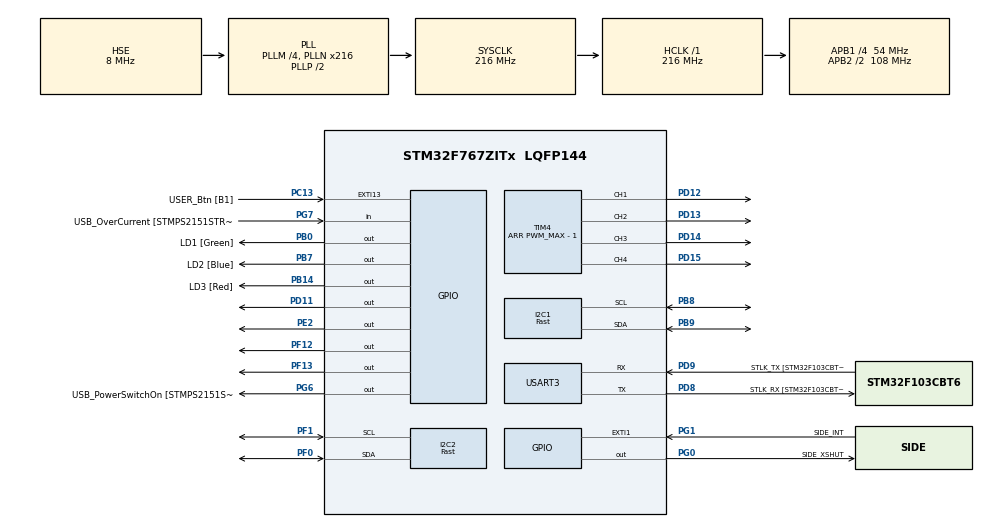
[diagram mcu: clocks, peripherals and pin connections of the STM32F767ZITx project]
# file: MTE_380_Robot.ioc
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CORTEX_M7.CPU_DCache=Enabled
CORTEX_M7.CPU_ICache=Enabled
FREERTOS.INCLUDE_xTaskGetCurrentTaskHandle=1
FREERTOS.INCLUDE_xTaskGetHandle=1
FREERTOS.Tasks01=defaultTask,24,256,StartDefaultTask,Default,NULL,Dynamic,NULL,NULL
FREERTOS.configENABLE_BACKWARD_COMPATIBILITY=0
FREERTOS.configGENERATE_RUN_TIME_STATS=1
FREERTOS.configMINIMAL_STACK_SIZE=256
FREERTOS.configRECORD_STACK_HIGH_ADDRESS=1
FREERTOS.configTOTAL_HEAP_SIZE=32768
I2C1.I2C_Speed_Mode=I2C_Fast
I2C1.Timing=0x6000030D
I2C2.I2C_Speed_Mode=I2C_Fast
I2C2.Timing=0x6000030D
Mcu.Family=STM32F7
Mcu.Name=STM32F767ZITx
Mcu.Package=LQFP144
Mcu.UserConstants=PWM_MAX,10800
NVIC.PriorityGroup=NVIC_PRIORITYGROUP_4
NVIC.TIM4_IRQn=true\:5\:0\:false\:false\:true\:true\:true\:true
NVIC.TIM7_IRQn=true\:0\:0\:false\:false\:true\:false\:false\:true
NVIC.TimeBase=TIM7_IRQn
NVIC.TimeBaseIP=TIM7
PA1.GPIO_Label=RMII_REF_CLK [LAN8742A-CZ-TR_REFCLK0]
PA1.Signal=ETH_REF_CLK
PA10.GPIO_Label=USB_ID
PA10.Signal=USB_OTG_FS_ID
PA11.GPIO_Label=USB_DM
PA11.Signal=USB_OTG_FS_DM
PA12.GPIO_Label=USB_DP
PA12.Signal=USB_OTG_FS_DP
PA13.GPIO_Label=TMS
PA13.Mode=Trace_Asynchronous_SW
PA13.Signal=SYS_JTMS-SWDIO
PA14.GPIO_Label=TCK
PA14.Mode=Trace_Asynchronous_SW
PA14.Signal=SYS_JTCK-SWCLK
PA2.GPIO_Label=RMII_MDIO [LAN8742A-CZ-TR_MDIO]
PA2.Signal=ETH_MDIO
PA7.GPIO_Label=RMII_CRS_DV [LAN8742A-CZ-TR_CRS_DV]
PA7.Signal=ETH_CRS_DV
PA8.GPIO_Label=USB_SOF [TP1]
PA8.Signal=USB_OTG_FS_SOF
PA9.GPIO_Label=USB_VBUS
PA9.Signal=USB_OTG_FS_VBUS
PB0.GPIO_Label=LD1 [Green]
PB0.Signal=GPIO_Output
PB13.GPIO_Label=RMII_TXD1 [LAN8742A-CZ-TR_TXD1]
PB13.Signal=ETH_TXD1
PB14.GPIO_Label=LD3 [Red]
PB14.Signal=GPIO_Output
PB3.GPIO_Label=SWO
PB3.Mode=Trace_Asynchronous_SW
PB3.Signal=SYS_JTDO-SWO
PB7.GPIO_Label=LD2 [Blue]
PB7.Signal=GPIO_Output
PB8.Mode=I2C
PB8.Signal=I2C1_SCL
PB9.Mode=I2C
PB9.Signal=I2C1_SDA
PC1.GPIO_Label=RMII_MDC [LAN8742A-CZ-TR_MDC]
PC1.Signal=ETH_MDC
PC13.GPIO_Label=USER_Btn [B1]
PC13.Signal=GPXTI13
PC14/OSC32_IN.Mode=LSE-External-Oscillator
PC14/OSC32_IN.Signal=RCC_OSC32_IN
PC15/OSC32_OUT.Mode=LSE-External-Oscillator
PC15/OSC32_OUT.Signal=RCC_OSC32_OUT
PC4.GPIO_Label=RMII_RXD0 [LAN8742A-CZ-TR_RXD0]
PC4.Signal=ETH_RXD0
PC5.GPIO_Label=RMII_RXD1 [LAN8742A-CZ-TR_RXD1]
PC5.Signal=ETH_RXD1
PD11.Signal=GPIO_Output
PD12.Signal=S_TIM4_CH1
PD13.Signal=S_TIM4_CH2
PD14.Signal=S_TIM4_CH3
PD15.Signal=S_TIM4_CH4
PD8.GPIO_Label=STLK_RX [STM32F103CBT6_PA3]
PD8.Mode=Asynchronous
PD8.Signal=USART3_TX
PD9.GPIO_Label=STLK_TX [STM32F103CBT6_PA2]
PD9.Mode=Asynchronous
PD9.Signal=USART3_RX
PE2.Signal=GPIO_Output
PF0.Mode=I2C
PF0.Signal=I2C2_SDA
PF1.Mode=I2C
PF1.Signal=I2C2_SCL
PF12.Signal=GPIO_Output
PF13.Signal=GPIO_Output
PG0.GPIO_Label=SIDE_XSHUT
PG0.GPIO_ModeDefaultOutputPP=GPIO_MODE_OUTPUT_OD
PG0.Signal=GPIO_Output
PG1.GPIO_Label=SIDE_INT
PG1.Signal=GPXTI1
PG11.GPIO_Label=RMII_TX_EN [LAN8742A-CZ-TR_TXEN]
PG11.Signal=ETH_TX_EN
PG13.GPIO_Label=RMII_TXD0 [LAN8742A-CZ-TR_TXD0]
PG13.Signal=ETH_TXD0
PG14.Signal=USART6_TX
PG6.GPIO_Label=USB_PowerSwitchOn [STMPS2151STR_EN]
PG6.Signal=GPIO_Output
PG7.GPIO_Label=USB_OverCurrent [STMPS2151STR_FAULT]
PG7.Signal=GPIO_Input
PG9.Signal=USART6_RX
PH0/OSC_IN.GPIO_Label=MCO [STM32F103CBT6_PA8]
PH0/OSC_IN.Mode=HSE-External-Clock-Source
PH0/OSC_IN.Signal=RCC_OSC_IN
PH1/OSC_OUT.Mode=HSE-External-Clock-Source
PH1/OSC_OUT.Signal=RCC_OSC_OUT
ProjectManager.HeapSize=0x2000
ProjectManager.StackSize=0x2000
ProjectManager.TargetToolchain=Makefile
RCC.48MHZClocksFreq_Value=24000000
RCC.AHBFreq_Value=216000000
RCC.APB1CLKDivider=RCC_HCLK_DIV4
RCC.APB1Freq_Value=54000000
RCC.APB1TimFreq_Value=108000000
RCC.APB2CLKDivider=RCC_HCLK_DIV2
RCC.APB2Freq_Value=108000000
RCC.APB2TimFreq_Value=216000000
RCC.CortexFreq_Value=216000000
RCC.HCLKFreq_Value=216000000
RCC.HSE_VALUE=8000000
RCC.HSI_VALUE=16000000
RCC.PLLM=4
RCC.PLLMUL=RCC_PLL_MUL9
RCC.PLLN=216
RCC.PLLQ=9
RCC.PLLSourceVirtual=RCC_PLLSOURCE_HSE
RCC.PRESCALERUSB=RCC_USBCLKSOURCE_PLL_DIV1_5
RCC.SYSCLKFreq_VALUE=216000000
RCC.SYSCLKSource=RCC_SYSCLKSOURCE_PLLCLK
RCC.SYSCLKSourceVirtual=RCC_SYSCLKSOURCE_PLLCLK
RCC.USBFreq_Value=48000000
RCC.VCOOutputFreq_Value=432000000
SH.S_TIM4_CH1.0=TIM4_CH1,PWM Generation1 CH1
SH.S_TIM4_CH2.0=TIM4_CH2,PWM Generation2 CH2
SH.S_TIM4_CH3.0=TIM4_CH3,PWM Generation3 CH3
SH.S_TIM4_CH4.0=TIM4_CH4,PWM Generation4 CH4
TIM4.Channel-PWM\ Generation1\ CH1=TIM_CHANNEL_1
TIM4.Channel-PWM\ Generation2\ CH2=TIM_CHANNEL_2
TIM4.Channel-PWM\ Generation3\ CH3=TIM_CHANNEL_3
TIM4.Channel-PWM\ Generation4\ CH4=TIM_CHANNEL_4
TIM4.Period=PWM_MAX - 1
USART3.VirtualMode-Asynchronous=VM_ASYNC
VP_FREERTOS_VS_CMSIS_V2.Mode=CMSIS_V2
VP_SYS_VS_tim7.Mode=TIM7
VP_TIM4_VS_ClockSourceINT.Mode=Internal
board=NUCLEO-F767ZI

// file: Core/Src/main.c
/* USER CODE BEGIN Header */
/**
 * @file main.c
 * @author Ian Frosst
 * @brief Main program body
 * @version 0.1
 * @date 2020-03-06
 *
 * @copyright Copyright (c) 2020
 *
 */
/* USER CODE END Header */

#include "main.h"
#include "cmsis_os.h"
#include "gpio.h"
#include "i2c.h"
#include "tim.h"
#include "usart.h"

/* USER CODE BEGIN Includes */
#include <stdbool.h>
#include <stdio.h>
#include <stdlib.h>

#include "vl53l0x_api.h"
#include "vl53l0x_platform.h"
/* USER CODE END Includes */

void SystemClock_Config(void);
void MX_FREERTOS_Init(void);

/* USER CODE BEGIN 0 */

void print_pal_error(VL53L0X_Error Status) {
  char buf[VL53L0X_MAX_STRING_LENGTH];
  VL53L0X_GetPalErrorString(Status, buf);
  printf("API Status: %i : %s\n", Status, buf);
}

void print_range_status(
    VL53L0X_RangingMeasurementData_t* pRangingMeasurementData) {
  char buf[VL53L0X_MAX_STRING_LENGTH];
  uint8_t RangeStatus;

  /*
   * New Range Status: data is valid when pRangingMeasurementData->RangeStatus =
   * 0
   */

  RangeStatus = pRangingMeasurementData->RangeStatus;

  VL53L0X_GetRangeStatusString(RangeStatus, buf);
  printf("Range Status: %i : %s\n", RangeStatus, buf);
}

VL53L0X_Error WaitMeasurementDataReady(VL53L0X_DEV Dev) {
  VL53L0X_Error Status = VL53L0X_ERROR_NONE;
  uint8_t NewDatReady = 0;
  uint32_t LoopNb;

  // Wait until it finished
  // use timeout to avoid deadlock
  if (Status == VL53L0X_ERROR_NONE) {
    LoopNb = 0;
    do {
      Status = VL53L0X_GetMeasurementDataReady(Dev, &NewDatReady);
      if ((NewDatReady == 0x01) || Status != VL53L0X_ERROR_NONE) {
        break;
      }
      LoopNb = LoopNb + 1;
      VL53L0X_PollingDelay(Dev);
    } while (LoopNb < VL53L0X_DEFAULT_MAX_LOOP);

    if (LoopNb >= VL53L0X_DEFAULT_MAX_LOOP) {
      Status = VL53L0X_ERROR_TIME_OUT;
    }
  }

  return Status;
}

VL53L0X_Error WaitStopCompleted(VL53L0X_DEV Dev) {
  VL53L0X_Error Status = VL53L0X_ERROR_NONE;
  uint32_t StopCompleted = 0;
  uint32_t LoopNb;

  // Wait until it finished
  // use timeout to avoid deadlock
  if (Status == VL53L0X_ERROR_NONE) {
    LoopNb = 0;
    do {
      Status = VL53L0X_GetStopCompletedStatus(Dev, &StopCompleted);
      if ((StopCompleted == 0x00) || Status != VL53L0X_ERROR_NONE) {
        break;
      }
      LoopNb = LoopNb + 1;
      VL53L0X_PollingDelay(Dev);
    } while (LoopNb < VL53L0X_DEFAULT_MAX_LOOP);

    if (LoopNb >= VL53L0X_DEFAULT_MAX_LOOP) {
      Status = VL53L0X_ERROR_TIME_OUT;
    }
  }

  return Status;
}

VL53L0X_Error rangingTest(VL53L0X_Dev_t* pMyDevice) {
  VL53L0X_RangingMeasurementData_t RangingMeasurementData;
  VL53L0X_RangingMeasurementData_t* pRangingMeasurementData =
      &RangingMeasurementData;
  VL53L0X_Error Status = VL53L0X_ERROR_NONE;
  uint32_t refSpadCount;
  uint8_t isApertureSpads;
  uint8_t VhvSettings;
  uint8_t PhaseCal;

  printf("Call of VL53L0X_DataInit\n");
  Status = VL53L0X_DataInit(pMyDevice);  // Data initialization
  print_pal_error(Status);

  if (Status == VL53L0X_ERROR_NONE) {
    printf("Call of VL53L0X_StaticInit\n");
    Status = VL53L0X_StaticInit(pMyDevice);  // Device Initialization
    // StaticInit will set interrupt by default
    print_pal_error(Status);
  }

  if (Status == VL53L0X_ERROR_NONE) {
    printf("Call of VL53L0X_PerformRefCalibration\n");
    Status = VL53L0X_PerformRefCalibration(pMyDevice, &VhvSettings,
                                           &PhaseCal);  // Device Initialization
    print_pal_error(Status);
  }

  if (Status == VL53L0X_ERROR_NONE) {
    printf("Call of VL53L0X_PerformRefSpadManagement\n");
    Status = VL53L0X_PerformRefSpadManagement(
        pMyDevice, &refSpadCount, &isApertureSpads);  // Device Initialization
    print_pal_error(Status);
  }

  if (Status == VL53L0X_ERROR_NONE) {
    printf("Call of VL53L0X_SetDeviceMode\n");
    Status = VL53L0X_SetDeviceMode(
        pMyDevice,
        VL53L0X_DEVICEMODE_CONTINUOUS_RANGING);  // Setup in single ranging mode
    print_pal_error(Status);
  }

  if (Status == VL53L0X_ERROR_NONE) {
    printf("Call of VL53L0X_StartMeasurement\n");
    Status = VL53L0X_StartMeasurement(pMyDevice);
    print_pal_error(Status);
  }

  if (Status == VL53L0X_ERROR_NONE) {
    uint16_t range;

    do {
      Status = WaitMeasurementDataReady(pMyDevice);

      if (Status == VL53L0X_ERROR_NONE) {
        Status = VL53L0X_GetRangingMeasurementData(pMyDevice,
                                                   pRangingMeasurementData);

        range = pRangingMeasurementData->RangeMilliMeter;
        printf("data: %d\r\n", range);

        // Clear the interrupt
        VL53L0X_ClearInterruptMask(
            pMyDevice, VL53L0X_REG_SYSTEM_INTERRUPT_GPIO_NEW_SAMPLE_READY);
        VL53L0X_PollingDelay(pMyDevice);
      } else {
        break;
      }
    } while (true);
  }

  if (Status == VL53L0X_ERROR_NONE) {
    printf("Call of VL53L0X_StopMeasurement\n");
    Status = VL53L0X_StopMeasurement(pMyDevice);
  }

  if (Status == VL53L0X_ERROR_NONE) {
    printf("Wait Stop to be competed\n");
    Status = WaitStopCompleted(pMyDevice);
  }

  if (Status == VL53L0X_ERROR_NONE)
    Status = VL53L0X_ClearInterruptMask(
        pMyDevice, VL53L0X_REG_SYSTEM_INTERRUPT_GPIO_NEW_SAMPLE_READY);

  return Status;
}

void drive_dir(uint16_t pwm, bool left, bool right) {
  // Front left
  __HAL_TIM_SET_COMPARE(&htim4, TIM_CHANNEL_4, pwm);
  HAL_GPIO_WritePin(GPIOF, GPIO_PIN_13, !left);

  // Back left
  __HAL_TIM_SET_COMPARE(&htim4, TIM_CHANNEL_1, pwm);
  HAL_GPIO_WritePin(GPIOE, GPIO_PIN_2, !left);

  // Front right
  __HAL_TIM_SET_COMPARE(&htim4, TIM_CHANNEL_3, pwm);
  HAL_GPIO_WritePin(GPIOF, GPIO_PIN_12, right);

  // Back right
  __HAL_TIM_SET_COMPARE(&htim4, TIM_CHANNEL_2, pwm);
  HAL_GPIO_WritePin(GPIOD, GPIO_PIN_11, right);
}

#define DO_SETUP
#define VL53L0X_ADDRESS (0x52)
#define VL53L0X_NEW_ADDRESS (0x54)

VL53L0X_Dev_t side_range = {
    .I2cDevAddr = VL53L0X_ADDRESS,
};

VL53L0X_Dev_t front_range = {
#ifdef DO_SETUP
    .I2cDevAddr = VL53L0X_ADDRESS,
#else
    .I2cDevAddr = VL53L0X_NEW_ADDRESS,
#endif
};

void range_init(void) {
  VL53L0X_Error Status = VL53L0X_ERROR_NONE;

  // Shutdown the side sensor
  HAL_GPIO_WritePin(SIDE_XSHUT_GPIO_Port, SIDE_XSHUT_Pin, GPIO_PIN_RESET);

#ifdef DO_SETUP
  // This will fail if the address has already been changed, but that's ok
  VL53L0X_SetDeviceAddress(&front_range, VL53L0X_NEW_ADDRESS);
  front_range.I2cDevAddr = VL53L0X_NEW_ADDRESS;
#endif

  // Reenable side sensor
  HAL_GPIO_WritePin(SIDE_XSHUT_GPIO_Port, SIDE_XSHUT_Pin, GPIO_PIN_SET);

  Status = VL53L0X_DataInit(&front_range);
  if (Status != VL53L0X_ERROR_NONE) {
    printf("front DataInit\r\n");
    print_pal_error(Status);
  }

  Status = VL53L0X_StaticInit(&front_range);
  if (Status != VL53L0X_ERROR_NONE) {
    printf("front StaticInit\r\n");
    print_pal_error(Status);
  }

  Status = VL53L0X_DataInit(&side_range);
  if (Status != VL53L0X_ERROR_NONE) {
    printf("side DataInit\r\n");
    print_pal_error(Status);
  }

  Status = VL53L0X_StaticInit(&side_range);
  if (Status != VL53L0X_ERROR_NONE) {
    printf("side StaticInit\r\n");
    print_pal_error(Status);
  }
}

void range_calibrate(void) {
  uint8_t VhvSettings = 0;
  uint8_t PhaseCal = 0;
  uint32_t refSpadCount = 0;
  uint8_t isApertureSpads = 0;

  VL53L0X_PerformRefCalibration(&front_range, &VhvSettings, &PhaseCal);
  VL53L0X_PerformRefSpadManagement(&front_range, &refSpadCount,
                                   &isApertureSpads);

  VL53L0X_PerformRefCalibration(&side_range, &VhvSettings, &PhaseCal);
  VL53L0X_PerformRefSpadManagement(&side_range, &refSpadCount,
                                   &isApertureSpads);
}

void range_run(void) {
  range_init();
  range_calibrate();

  VL53L0X_SetDeviceMode(&front_range, VL53L0X_DEVICEMODE_CONTINUOUS_RANGING);
  VL53L0X_StartMeasurement(&front_range);

  VL53L0X_SetDeviceMode(&side_range, VL53L0X_DEVICEMODE_CONTINUOUS_RANGING);
  VL53L0X_StartMeasurement(&side_range);

  VL53L0X_RangingMeasurementData_t data = {0};

  while (1) {
    HAL_Delay(50);
    VL53L0X_GetRangingMeasurementData(&front_range, &data);
    printf("front: %d\r\n", data.RangeMilliMeter);
    VL53L0X_ClearInterruptMask(
        &front_range, VL53L0X_REG_SYSTEM_INTERRUPT_GPIO_NEW_SAMPLE_READY);
    HAL_Delay(50);
    VL53L0X_GetRangingMeasurementData(&side_range, &data);
    printf("side:  %d\r\n", data.RangeMilliMeter);
    VL53L0X_ClearInterruptMask(
        &side_range, VL53L0X_REG_SYSTEM_INTERRUPT_GPIO_NEW_SAMPLE_READY);
  }
}

/* USER CODE END 0 */

int main(void) {

  /* Enable I-Cache---------------------------------------------------------*/
  SCB_EnableICache();

  /* Enable D-Cache---------------------------------------------------------*/
  SCB_EnableDCache();

  /* MCU Configuration--------------------------------------------------------*/

  /* Reset of all peripherals, Initializes the Flash interface and the Systick. */
  HAL_Init();

  /* Configure the system clock */
  SystemClock_Config();

  /* Initialize all configured peripherals */
  MX_GPIO_Init();
  MX_USART3_UART_Init();
  MX_I2C1_Init();
  MX_I2C2_Init();
  MX_TIM4_Init();
  /* USER CODE BEGIN 2 */
  printf("\r\n\r\nStartup!\r\n");

#if 0
  HAL_TIM_PWM_Start(&htim4, TIM_CHANNEL_1);
  HAL_TIM_PWM_Start(&htim4, TIM_CHANNEL_2);
  HAL_TIM_PWM_Start(&htim4, TIM_CHANNEL_3);
  HAL_TIM_PWM_Start(&htim4, TIM_CHANNEL_4);

  uint16_t pwm = 0xFFFF * 0.4f;

  drive_dir(pwm, true, true);

  HAL_Delay(2000);

  drive_dir(0, true, true);

  HAL_Delay(200);

  drive_dir(pwm, false, false);

  HAL_Delay(2000);

  drive_dir(0, true, true);

  HAL_Delay(200);

  drive_dir(pwm, true, false);

  HAL_Delay(2000);

  drive_dir(0, true, true);

  HAL_Delay(200);

  drive_dir(pwm, false, true);

  HAL_Delay(2000);

  drive_dir(0, true, true);

  while (1)
    ;
#endif

  /* USER CODE END 2 */
  /* Init scheduler */
  osKernelInitialize();

  /* Call init function for freertos objects (in freertos.c) */
  MX_FREERTOS_Init();

  /* Start scheduler */
  osKernelStart();

  /* We should never get here as control is now taken by the scheduler */

  /* Infinite loop */
  while (1) {

  }
}

void SystemClock_Config(void) {
  RCC_OscInitTypeDef RCC_OscInitStruct = {0};
  RCC_ClkInitTypeDef RCC_ClkInitStruct = {0};
  RCC_PeriphCLKInitTypeDef PeriphClkInitStruct = {0};

  /** Configure LSE Drive Capability
   */
  HAL_PWR_EnableBkUpAccess();
  /** Configure the main internal regulator output voltage
   */
  __HAL_RCC_PWR_CLK_ENABLE();
  __HAL_PWR_VOLTAGESCALING_CONFIG(PWR_REGULATOR_VOLTAGE_SCALE1);
  /** Initializes the CPU, AHB and APB busses clocks
   */
  RCC_OscInitStruct.OscillatorType = RCC_OSCILLATORTYPE_HSE;
  RCC_OscInitStruct.HSEState = RCC_HSE_BYPASS;
  RCC_OscInitStruct.PLL.PLLState = RCC_PLL_ON;
  RCC_OscInitStruct.PLL.PLLSource = RCC_PLLSOURCE_HSE;
  RCC_OscInitStruct.PLL.PLLM = 4;
  RCC_OscInitStruct.PLL.PLLN = 216;
  RCC_OscInitStruct.PLL.PLLP = RCC_PLLP_DIV2;
  RCC_OscInitStruct.PLL.PLLQ = 9;
  if (HAL_RCC_OscConfig(&RCC_OscInitStruct) != HAL_OK) {
    Error_Handler();
  }
  /** Activate the Over-Drive mode
  */
  if (HAL_PWREx_EnableOverDrive() != HAL_OK) {
    Error_Handler();
  }
  /** Initializes the CPU, AHB and APB busses clocks
   */
  RCC_ClkInitStruct.ClockType = RCC_CLOCKTYPE_HCLK | RCC_CLOCKTYPE_SYSCLK |
                                RCC_CLOCKTYPE_PCLK1 | RCC_CLOCKTYPE_PCLK2;
  RCC_ClkInitStruct.SYSCLKSource = RCC_SYSCLKSOURCE_PLLCLK;
  RCC_ClkInitStruct.AHBCLKDivider = RCC_SYSCLK_DIV1;
  RCC_ClkInitStruct.APB1CLKDivider = RCC_HCLK_DIV4;
  RCC_ClkInitStruct.APB2CLKDivider = RCC_HCLK_DIV2;

  if (HAL_RCC_ClockConfig(&RCC_ClkInitStruct, FLASH_LATENCY_7) != HAL_OK) {
    Error_Handler();
  }
  PeriphClkInitStruct.PeriphClockSelection =
      RCC_PERIPHCLK_USART3 | RCC_PERIPHCLK_I2C1 | RCC_PERIPHCLK_I2C2;
  PeriphClkInitStruct.Usart3ClockSelection = RCC_USART3CLKSOURCE_PCLK1;
  PeriphClkInitStruct.I2c1ClockSelection = RCC_I2C1CLKSOURCE_PCLK1;
  PeriphClkInitStruct.I2c2ClockSelection = RCC_I2C2CLKSOURCE_PCLK1;
  if (HAL_RCCEx_PeriphCLKConfig(&PeriphClkInitStruct) != HAL_OK) {
    Error_Handler();
  }
}

void HAL_TIM_PeriodElapsedCallback(TIM_HandleTypeDef* htim) {
  if (htim->Instance == TIM7) {
    HAL_IncTick();
  }
}

void Error_Handler(void) {
}

#ifdef USE_FULL_ASSERT
/**
 * @brief  Reports the name of the source file and the source line number
 *         where the assert_param error has occurred.
 * @param  file: pointer to the source file name
 * @param  line: assert_param error line source number
 * @retval None
 */
void assert_failed(uint8_t* file, uint32_t line) {
  /* USER CODE BEGIN 6 */
  printf("Assertion failed at %s:%ld\n", file, line);
  /* USER CODE END 6 */
}
#endif /* USE_FULL_ASSERT */

/************************ (C) COPYRIGHT STMicroelectronics *****END OF FILE****/

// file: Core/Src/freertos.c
/* USER CODE BEGIN Header */
/**
  ******************************************************************************
  * File Name          : freertos.c
  * Description        : Code for freertos applications
  ******************************************************************************
  * @attention
  *
  * <h2><center>&copy; Copyright (c) 2020 STMicroelectronics.
  * All rights reserved.</center></h2>
  *
  * This software component is licensed by ST under Ultimate Liberty license
  * SLA0044, the "License"; You may not use this file except in compliance with
  * the License. You may obtain a copy of the License at:
  *                             www.st.com/SLA0044
  *
  ******************************************************************************
  */
/* USER CODE END Header */

#include "FreeRTOS.h"
#include "task.h"
#include "main.h"
#include "cmsis_os.h"

/* USER CODE BEGIN Includes */
#include <stdio.h>
/* USER CODE END Includes */

/* Definitions for defaultTask */
osThreadId_t defaultTaskHandle;
const osThreadAttr_t defaultTask_attributes = {
  .name = "defaultTask",
  .priority = (osPriority_t) osPriorityNormal,
  .stack_size = 256
};

void StartDefaultTask(void *argument);

void MX_FREERTOS_Init(void); /* (MISRA C 2004 rule 8.1) */

/* Hook prototypes */
void configureTimerForRunTimeStats(void);
unsigned long getRunTimeCounterValue(void);

/* USER CODE BEGIN 1 */
/* Functions needed when configGENERATE_RUN_TIME_STATS is on */
__weak void configureTimerForRunTimeStats(void)
{

}

__weak unsigned long getRunTimeCounterValue(void)
{
return 0;
}
/* USER CODE END 1 */

void MX_FREERTOS_Init(void) {

  /* Create the thread(s) */
  /* creation of defaultTask */
  defaultTaskHandle = osThreadNew(StartDefaultTask, NULL, &defaultTask_attributes);

}

void StartDefaultTask(void *argument)
{
  /* USER CODE BEGIN StartDefaultTask */
  /* Infinite loop */
  for(;;)
  {
    printf("thread running!\r\n");
    osDelay(1000);
  }
  /* USER CODE END StartDefaultTask */
}

/************************ (C) COPYRIGHT STMicroelectronics *****END OF FILE****/
